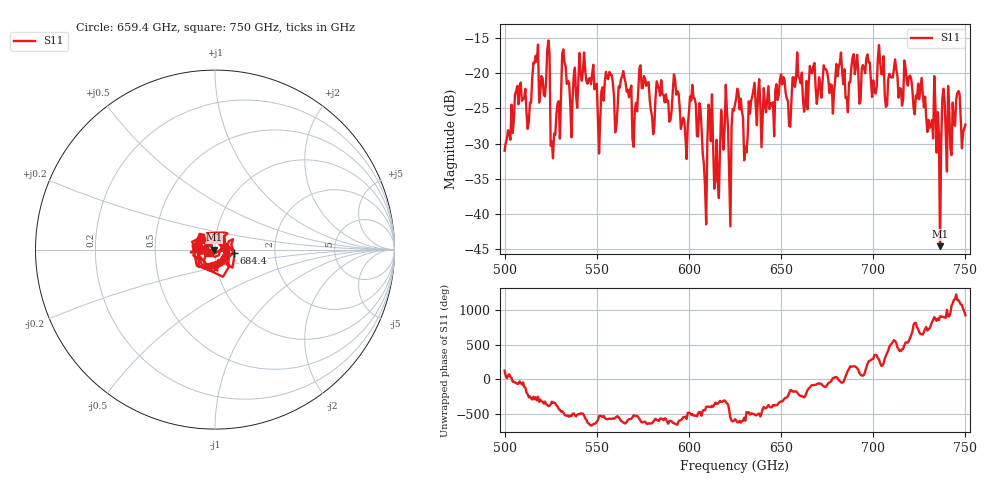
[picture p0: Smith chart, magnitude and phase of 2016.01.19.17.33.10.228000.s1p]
!Created with skrf (http://scikit-rf.org).
# GHz S RI R 50.0
!freq ReS11 ImS11
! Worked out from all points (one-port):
!   401 points, 500 GHz to 750 GHz, reference 50 ohm
!   lowest |S11| = -44.6 dB at 736.2 GHz (marker M1), VSWR 1.01, Z = 49.4 - j0.117 ohm
!   |S11| at or under -10 dB: start of sweep to end of sweep
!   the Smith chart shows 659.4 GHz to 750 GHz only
!   S11 on the Smith chart (normalised r, x): 659.4 GHz: 0.85, +0.10; 684.4 GHz: 1.23, -0.04; 750 GHz: 0.93, -0.04
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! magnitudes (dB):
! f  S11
! 500 GHz  -31.0
! 507.5 GHz  -24.4
! 513.1 GHz  -26.9
! 516.9 GHz  -17.5
! 523.1 GHz  -16.8
! 526.2 GHz  -32.1
! 531.2 GHz  -17.2
! 562.5 GHz  -22.1
! 570.6 GHz  -25.4
! 574.4 GHz  -22.1
! 593.8 GHz  -22.6
! 598.1 GHz  -29.1
! 602.5 GHz  -23.5
! 608.8 GHz  -36.2
! 611.9 GHz  -29.7
! 615 GHz  -29.5
! 618.8 GHz  -30.9
! 623.1 GHz  -27.6
! 625 GHz  -24.4
! 630.6 GHz  -30.4
! 635 GHz  -22.4
! 656.2 GHz  -20.6
! 659.4 GHz  -20.5
! 684.4 GHz  -19.5
! 687.5 GHz  -21.3
! 718.8 GHz  -21.8
! 736.2 GHz  -44.6
! 750 GHz  -27.3
